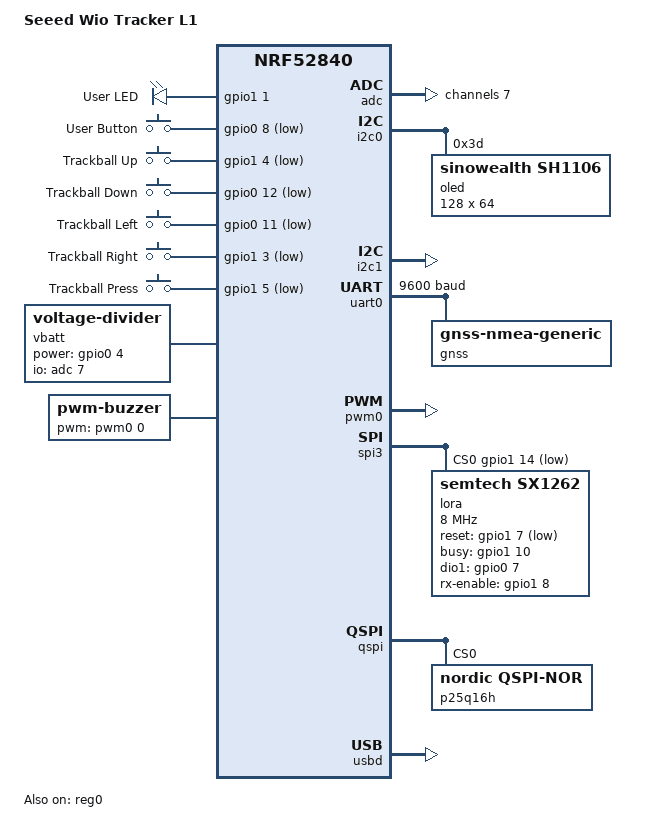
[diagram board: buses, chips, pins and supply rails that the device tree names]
/*
 * Copyright (c) 2026 Carlo Caione <ccaione@baylibre.com>
 * SPDX-License-Identifier: Apache-2.0
 */

/dts-v1/;
#include <nordic/nrf52840_qiaa.dtsi>
#include <nordic/nrf52840_partition_uf2_sdv7.dtsi>
#include <zephyr/dt-bindings/adc/nrf-saadc.h>
#include <zephyr/dt-bindings/lora/sx126x.h>
#include <zephyr/dt-bindings/pwm/pwm.h>
#include "wio_tracker_l1-pinctrl.dtsi"

/ {
	model = "Seeed Wio Tracker L1";
	compatible = "seeed,wio-tracker-l1";

	chosen {
		zephyr,display = &oled;
	};

	leds {
		compatible = "gpio-leds";

		led0: led_0 {
			gpios = <&gpio1 1 GPIO_ACTIVE_HIGH>;
			label = "User LED";
		};
	};

	buttons {
		compatible = "gpio-keys";

		button0: button_0 {
			gpios = <&gpio0 8 (GPIO_PULL_UP | GPIO_ACTIVE_LOW)>;
			label = "User Button";
			zephyr,code = <INPUT_KEY_0>;
		};
	};

	trackball {
		compatible = "gpio-keys";

		tb_up: tb_up {
			gpios = <&gpio1 4 (GPIO_PULL_UP | GPIO_ACTIVE_LOW)>;
			label = "Trackball Up";
			zephyr,code = <INPUT_KEY_UP>;
		};

		tb_down: tb_down {
			gpios = <&gpio0 12 (GPIO_PULL_UP | GPIO_ACTIVE_LOW)>;
			label = "Trackball Down";
			zephyr,code = <INPUT_KEY_DOWN>;
		};

		tb_left: tb_left {
			gpios = <&gpio0 11 (GPIO_PULL_UP | GPIO_ACTIVE_LOW)>;
			label = "Trackball Left";
			zephyr,code = <INPUT_KEY_LEFT>;
		};

		tb_right: tb_right {
			gpios = <&gpio1 3 (GPIO_PULL_UP | GPIO_ACTIVE_LOW)>;
			label = "Trackball Right";
			zephyr,code = <INPUT_KEY_RIGHT>;
		};

		tb_press: tb_press {
			gpios = <&gpio1 5 (GPIO_PULL_UP | GPIO_ACTIVE_LOW)>;
			label = "Trackball Press";
			zephyr,code = <INPUT_KEY_ENTER>;
		};
	};

	vbatt: vbatt {
		compatible = "voltage-divider";
		io-channels = <&adc 7>;
		output-ohms = <1000000>;
		full-ohms = <2000000>;
		power-gpios = <&gpio0 4 GPIO_ACTIVE_HIGH>;
	};

	buzzer: buzzer {
		compatible = "pwm-buzzer";
		pwms = <&pwm0 0 PWM_HZ(2700) PWM_POLARITY_NORMAL>;
	};

	aliases {
		led0 = &led0;
		sw0 = &button0;
		lora0 = &lora;
		gnss = &gnss;
		buzzer0 = &buzzer;
		watchdog0 = &wdt0;
	};
};

&reg0 {
	status = "okay";
};

&reg1 {
	regulator-initial-mode = <NRF5X_REG_MODE_DCDC>;
};

&uicr {
	gpio-as-nreset;
};

&gpiote {
	status = "okay";
};

&gpio0 {
	status = "okay";
};

&gpio1 {
	status = "okay";
};

&adc {
	status = "okay";

	#address-cells = <1>;
	#size-cells = <0>;

	channel@7 {
		reg = <7>;
		zephyr,gain = "ADC_GAIN_1_6";
		zephyr,reference = "ADC_REF_INTERNAL";
		zephyr,vref-mv = <600>;
		zephyr,acquisition-time = <ADC_ACQ_TIME(ADC_ACQ_TIME_MICROSECONDS, 40)>;
		zephyr,input-positive = <NRF_SAADC_AIN7>;
		zephyr,resolution = <12>;
	};
};

&i2c0 {
	compatible = "nordic,nrf-twim";
	status = "okay";
	pinctrl-0 = <&i2c0_default>;
	pinctrl-1 = <&i2c0_sleep>;
	pinctrl-names = "default", "sleep";

	oled: sh1106@3d {
		compatible = "sinowealth,sh1106";
		reg = <0x3d>;
		width = <128>;
		height = <64>;
		segment-offset = <2>;
		page-offset = <0>;
		display-offset = <0>;
		multiplex-ratio = <63>;
		segment-remap;
		com-invdir;
		prechargep = <0x22>;
	};
};

&i2c1 {
	compatible = "nordic,nrf-twim";
	status = "okay";
	pinctrl-0 = <&i2c1_default>;
	pinctrl-1 = <&i2c1_sleep>;
	pinctrl-names = "default", "sleep";
};

&uart0 {
	compatible = "nordic,nrf-uarte";
	status = "okay";
	current-speed = <9600>;
	pinctrl-0 = <&uart0_default>;
	pinctrl-1 = <&uart0_sleep>;
	pinctrl-names = "default", "sleep";

	gnss: gnss-nmea-generic {
		compatible = "gnss-nmea-generic";
		status = "okay";
	};
};

&pwm0 {
	status = "okay";
	pinctrl-0 = <&pwm0_default>;
	pinctrl-1 = <&pwm0_sleep>;
	pinctrl-names = "default", "sleep";
};

&spi3 {
	compatible = "nordic,nrf-spim";
	status = "okay";
	cs-gpios = <&gpio1 14 GPIO_ACTIVE_LOW>;

	pinctrl-0 = <&spi3_default>;
	pinctrl-1 = <&spi3_sleep>;
	pinctrl-names = "default", "sleep";

	lora: lora@0 {
		compatible = "semtech,sx1262";
		reg = <0>;
		spi-max-frequency = <DT_FREQ_M(8)>;
		reset-gpios = <&gpio1 7 GPIO_ACTIVE_LOW>;
		busy-gpios = <&gpio1 10 GPIO_ACTIVE_HIGH>;
		dio1-gpios = <&gpio0 7 GPIO_ACTIVE_HIGH>;
		rx-enable-gpios = <&gpio1 8 GPIO_ACTIVE_HIGH>;
		dio2-tx-enable;
		dio3-tcxo-voltage = <SX126X_DIO3_TCXO_1V8>;
		tcxo-power-startup-delay-ms = <5>;
	};
};

&qspi {
	status = "okay";
	pinctrl-0 = <&qspi_default>;
	pinctrl-1 = <&qspi_sleep>;
	pinctrl-names = "default", "sleep";

	p25q16h: p25q16h@0 {
		compatible = "nordic,qspi-nor";
		reg = <0>;
		sck-frequency = <104000000>;
		quad-enable-requirements = "S2B1v1";
		jedec-id = [85 60 15];
		sfdp-bfp = [e5 20 f9 ff ff ff ff 07 44 eb 08 6b 08 3b 80 bb
			    fe ff ff ff ff ff 00 ff ff ff 44 eb 0c 20 0f 52
			    10 d8 08 81];
		size = <16777216>;
		has-dpd;
		t-enter-dpd = <3000>;
		t-exit-dpd = <8000>;
	};
};

zephyr_udc0: &usbd {
	compatible = "nordic,nrf-usbd";
	status = "okay";
};

#include <../boards/common/usb/cdc_acm_serial.dtsi>
